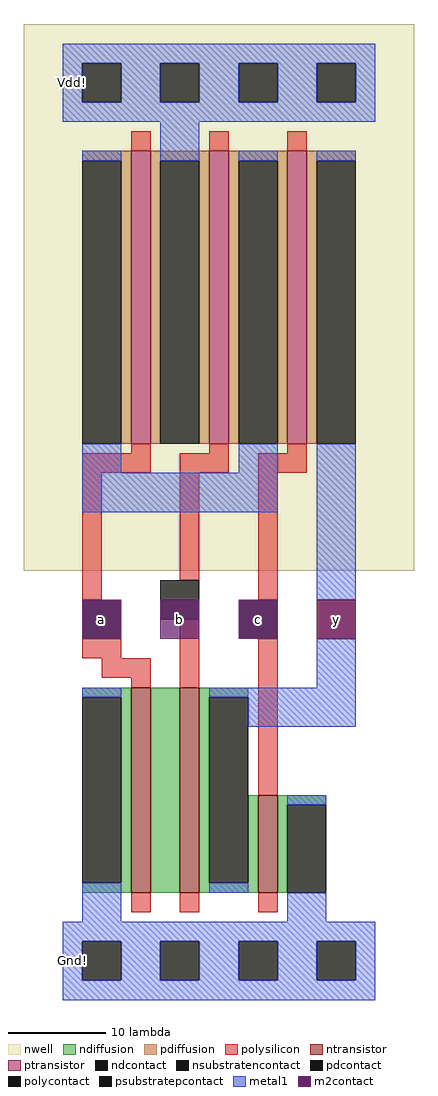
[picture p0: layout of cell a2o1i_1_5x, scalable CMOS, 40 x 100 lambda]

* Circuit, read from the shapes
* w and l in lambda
.subckt a2o1i_1_5x Gnd! Vdd! a b c y
M1 n1 a Gnd! Gnd! nfet w=21 l=2
M2 y b n1 Gnd! nfet w=21 l=2
M3 Gnd! c y Gnd! nfet w=10 l=2
M4 Vdd! a n2 Vdd! pfet w=30 l=2
M5 n2 b Vdd! Vdd! pfet w=30 l=2
M6 y c n2 Vdd! pfet w=30 l=2
.ends

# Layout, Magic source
magic
tech scmos
<< nwell >>
rect -4 40 36 96
<< ntransistor >>
rect 7 7 9 28
rect 12 7 14 28
rect 20 7 22 17
<< ptransistor >>
rect 7 53 9 83
rect 15 53 17 83
rect 23 53 25 83
<< ndiffusion >>
rect 2 27 7 28
rect 6 8 7 27
rect 2 7 7 8
rect 9 7 12 28
rect 14 27 19 28
rect 14 8 15 27
rect 19 8 20 17
rect 14 7 20 8
rect 22 16 27 17
rect 22 7 23 16
<< pdiffusion >>
rect 2 82 7 83
rect 6 53 7 82
rect 9 82 15 83
rect 9 53 10 82
rect 14 53 15 82
rect 17 82 23 83
rect 17 53 18 82
rect 22 53 23 82
rect 25 82 30 83
rect 25 53 26 82
<< ndcontact >>
rect 2 8 6 27
rect 15 8 19 27
rect 23 7 27 16
<< pdcontact >>
rect 2 53 6 82
rect 10 53 14 82
rect 18 53 22 82
rect 26 53 30 82
<< psubstratepcontact >>
rect 2 -2 6 2
rect 10 -2 14 2
rect 18 -2 22 2
rect 26 -2 30 2
<< nsubstratencontact >>
rect 2 88 6 92
rect 10 88 14 92
rect 18 88 22 92
rect 26 88 30 92
<< polysilicon >>
rect 7 83 9 85
rect 15 83 17 85
rect 23 83 25 85
rect 7 52 9 53
rect 15 52 17 53
rect 23 52 25 53
rect 2 50 9 52
rect 12 50 17 52
rect 20 50 25 52
rect 2 37 4 50
rect 12 39 14 50
rect 20 37 22 50
rect 2 31 6 33
rect 4 29 9 31
rect 7 28 9 29
rect 12 28 14 35
rect 26 33 30 37
rect 20 17 22 33
rect 7 5 9 7
rect 12 5 14 7
rect 20 5 22 7
<< polycontact >>
rect 2 33 6 37
rect 10 35 14 39
rect 18 33 22 37
<< metal1 >>
rect 0 92 32 94
rect 0 88 2 92
rect 6 88 10 92
rect 14 88 18 92
rect 22 88 26 92
rect 30 88 32 92
rect 0 86 32 88
rect 2 82 6 83
rect 10 82 14 86
rect 18 82 22 83
rect 2 50 6 53
rect 18 50 22 53
rect 2 46 22 50
rect 26 82 30 83
rect 26 37 30 53
rect 26 28 30 33
rect 2 27 6 28
rect 2 4 6 8
rect 15 27 30 28
rect 19 24 30 27
rect 15 7 19 8
rect 23 16 27 17
rect 23 4 27 7
rect 0 2 32 4
rect 0 -2 2 2
rect 6 -2 10 2
rect 14 -2 18 2
rect 22 -2 26 2
rect 30 -2 32 2
rect 0 -4 32 -2
<< m2contact >>
rect 2 33 6 37
rect 10 35 14 37
rect 10 33 14 35
rect 18 33 22 37
rect 26 33 30 37
<< labels >>
rlabel m2contact 4 35 4 35 1 a
rlabel m2contact 12 35 12 35 1 b
rlabel m2contact 20 35 20 35 1 c
rlabel m2contact 28 35 28 35 1 y
rlabel metal1 1 0 1 0 2 Gnd!
rlabel metal1 1 90 1 90 3 Vdd!
<< end >>
